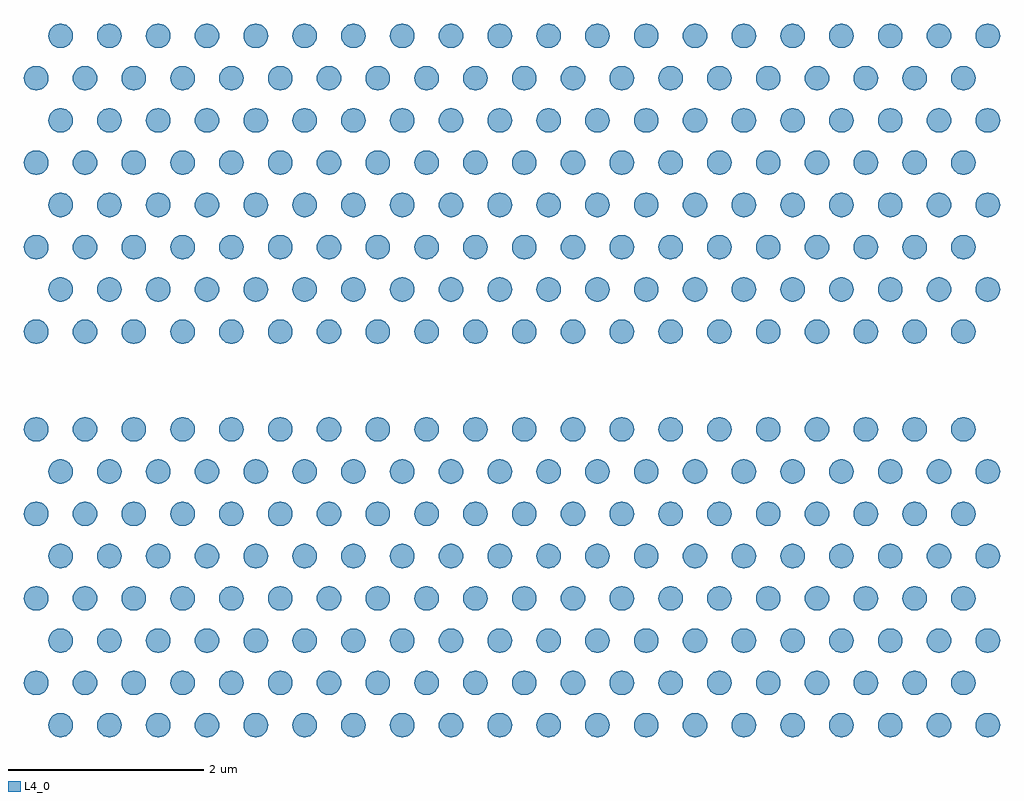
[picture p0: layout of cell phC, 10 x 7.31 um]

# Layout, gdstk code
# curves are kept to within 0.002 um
import gdstk
lib = gdstk.Library(unit=1e-6, precision=1e-09)
def P(c, l, *ps):  # polygons
    for p in ps: c.add(gdstk.Polygon(p, *l))
L4_0 = (4, 0)

singleobjectphc = lib.new_cell('singleObjectPHC')
P(singleobjectphc, L4_0, [(-0.012,-0.124),(-0.056,-0.112),(-0.075,-0.1),(-0.106,-0.066),(-0.117,-0.045),(-0.123,-0.023),(-0.123,0.023),(-0.117,0.045),(-0.106,0.066),(-0.075,0.1),(-0.056,0.112),(-0.034,0.12),(-0.012,0.124),(0.012,0.124),(0.056,0.112),(0.075,0.1),(0.106,0.066),(0.117,0.045),(0.123,0.023),(0.123,-0.023),(0.117,-0.045),(0.106,-0.066),(0.075,-0.1),(0.056,-0.112),(0.034,-0.12),(0.012,-0.124)])

phc = lib.new_cell('phC')
r = gdstk.Reference(singleobjectphc, (0,0)); r.repetition = gdstk.Repetition(20, 4, v1=(0.5,0), v2=(0,0.866)); phc.add(r)
r = gdstk.Reference(singleobjectphc, (0.25,0.433)); r.repetition = gdstk.Repetition(20, 4, v1=(0.5,0), v2=(0,0.866)); phc.add(r)
r = gdstk.Reference(singleobjectphc, (0,-1)); r.repetition = gdstk.Repetition(20, 4, v1=(0.5,0), v2=(0,-0.866)); phc.add(r)
r = gdstk.Reference(singleobjectphc, (0.25,-1.433)); r.repetition = gdstk.Repetition(20, 4, v1=(0.5,0), v2=(0,-0.866)); phc.add(r)

lib.write_gds('phC.gds')
